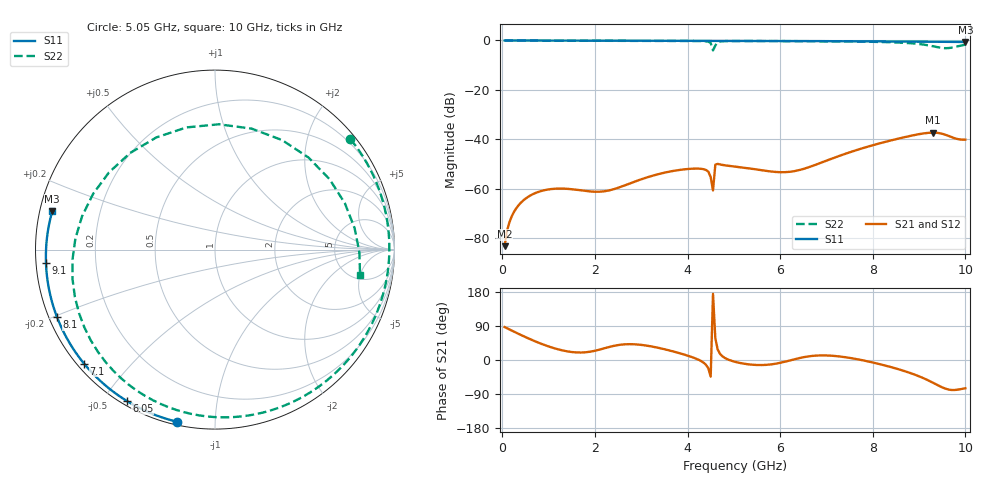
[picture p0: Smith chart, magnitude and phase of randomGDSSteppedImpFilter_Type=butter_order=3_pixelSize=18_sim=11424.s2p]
! freq	dB(S11)	phase(S11)	dB(S12)	phase(S12)
!  dB(S21)	phase(S21)	dB(S22)	phase(S22)
!S-par simulation data
#  GHz  S  DB  R 50
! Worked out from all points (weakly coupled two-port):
!   200 points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, 50 MHz to 10 GHz, reference 50 ohm
!   highest |S21| = -37.26 dB at 9.3 GHz (marker M1); lowest = -83.2 dB at 50 MHz (marker M2)
!   lowest |S11| = -0.6 dB at 10 GHz (marker M3), VSWR 28.24, Z = 1.79 + j5.8 ohm
!   |S11| at or under -10 dB: nowhere
!   |S22| runs from -4.0 to 0.0 dB; largest |S21 - S12| = 0
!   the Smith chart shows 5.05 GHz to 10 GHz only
!   S11 on the Smith chart (normalised r, x): 5.05 GHz: 0.01, -0.80; 6.05 GHz: 0.02, -0.57; 7.1 GHz: 0.02, -0.37; 8.1 GHz: 0.02, -0.20; 9.1 GHz: 0.03, -0.04; 10 GHz: 0.04, +0.12
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0.05  -0.00 -1.1  -83.15 87.0  -83.15 87.0  -0.00 -5.1
0.35  -0.01 -7.7  -66.66 69.0  -66.66 69.0  -0.05 -34.9
0.85  -0.02 -18.5  -60.80 42.4  -60.80 42.4  -0.10 -81.0
1.75  -0.05 -37.7  -60.71 19.9  -60.71 19.9  -0.14 -149.4
2.5  -0.07 -53.2  -59.56 39.4  -59.56 39.4  -0.16 164.6
3.4  -0.09 -71.2  -53.89 31.3  -53.89 31.3  -0.18 115.8
4.35  -0.13 -89.4  -52.05 -7.3  -52.05 -7.3  -0.29 65.5
4.45  -0.13 -91.3  -53.06 -22.3  -53.06 -22.3  -0.50 57.4
4.55  -0.14 -93.1  -60.65 174.6  -60.65 174.6  -4.01 48.0
4.6  -0.14 -94.1  -50.21 57.7  -50.21 57.7  -2.06 73.0
5.05  -0.16 -102.3  -51.03 -5.6  -51.03 -5.6  -0.23 39.2
6.05  -0.21 -120.3  -53.26 -6.1  -53.26 -6.1  -0.26 -4.9
6.7  -0.26 -131.9  -50.70 10.8  -50.70 10.8  -0.31 -31.0
7.1  -0.29 -138.9  -47.88 11.4  -47.88 11.4  -0.35 -46.7
8.1  -0.38 -156.8  -41.83 -9.5  -41.83 -9.5  -0.59 -88.2
8.35  -0.41 -161.4  -40.60 -17.3  -40.60 -17.3  -0.70 -100.7
8.75  -0.45 -168.8  -38.82 -31.9  -38.82 -31.9  -1.04 -126.1
9.1  -0.49 -175.4  -37.57 -48.2  -37.57 -48.2  -1.68 -161.3
9.3  -0.52 -179.3  -37.26 -60.0  -37.26 -60.0  -2.34 166.0
9.6  -0.56 174.8  -38.32 -76.8  -38.32 -76.8  -3.12 88.2
9.8  -0.59 170.8  -39.69 -78.9  -39.69 -78.9  -2.51 31.6
10  -0.62 166.8  -40.08 -74.5  -40.08 -74.5  -1.72 -10.0
